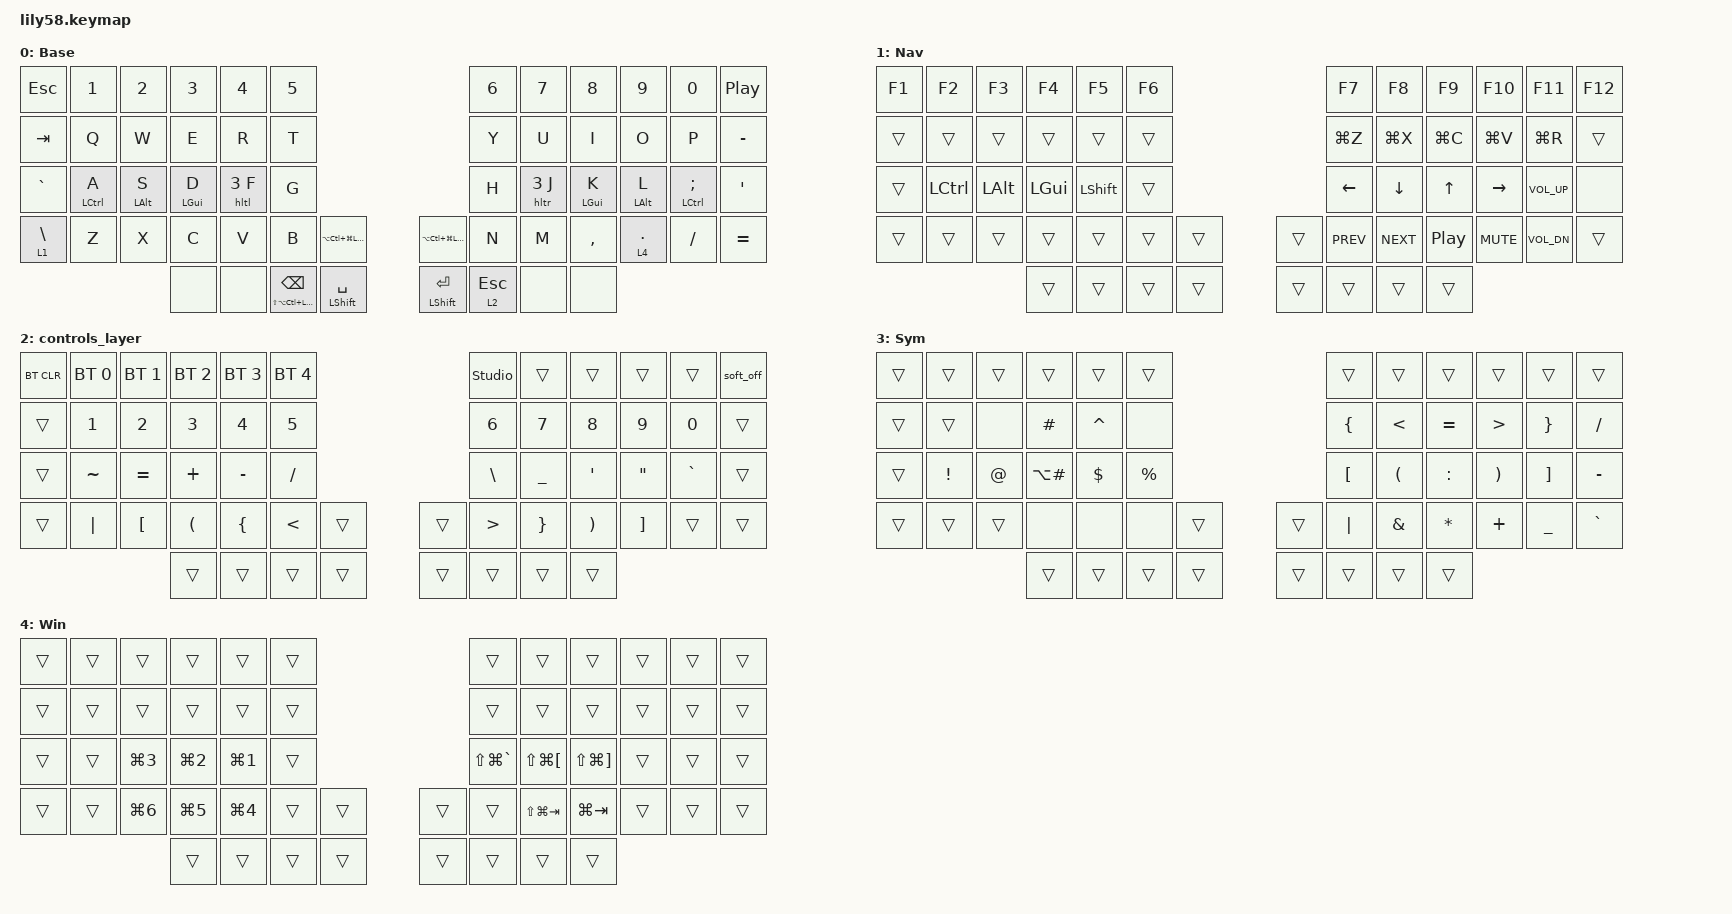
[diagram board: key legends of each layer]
/*
 * Copyright (c) 2020 The ZMK Contributors
 *
 * SPDX-License-Identifier: MIT
 */

#include <behaviors.dtsi>
#include <dt-bindings/zmk/bt.h>
#include <dt-bindings/zmk/keys.h>

// Helpful names for common keys
#define LEFT_HYPER  LS(LA(LC(LGUI)))

#define MAC_NEXT_WORD   LA(RIGHT)
#define MAC_WRDN    MAC_NEXT_WORD

#define MAC_PREVIOUS_WORD   LA(LEFT)
#define MAC_WRDP    MAC_PREVIOUS_WORD

#define MAC_START_OF_LINE   LG(LEFT)
#define MAC_STTL    MAC_START_OF_LINE

#define MAC_END_OF_LINE LG(RIGHT)
#define MAC_ENDL    MAC_END_OF_LINE

#define MAC_CUT LG(X)
#define MAC_COPY    LG(C)
#define MAC_PASTE   LG(V)
#define MAC_UNDO    LG(Z)
#define MAC_REDO    LG(R)

#define LT0  5  // left-top row
#define LT1  4
#define LT2  3
#define LT3  2
#define LT4  1
#define LT5  0
#define RT0  6  // right-top row
#define RT1  7
#define RT2  8
#define RT3  9
#define RT4 10
#define RT5 11
#define LN0 17  // left-middle row
#define LN1 16
#define LN2 15
#define LN3 14
#define LN4 13
#define LN5 12
#define RN0 18  // right-middle row
#define RN1 19
#define RN2 20
#define RN3 21
#define RN4 22
#define RN5 23
#define LM0 29  // left-homerow row
#define LM1 28
#define LM2 27
#define LM3 26
#define LM4 25
#define LM5 24
#define RM0 30  // right-homerow row
#define RM1 31
#define RM2 32
#define RM3 33
#define RM4 34
#define RM5 35
#define LB0 41  // left-bottom row
#define LB1 40
#define LB2 39
#define LB3 38
#define LB4 37
#define LB5 36
#define LBC 42  // left encoder key
#define RBC 43  // right encoder key
#define RB0 44  // right-bottom row
#define RB1 45
#define RB2 46
#define RB3 47
#define RB4 48
#define RB5 49
#define LF0 53  // left footer keys
#define LF1 52
#define LF2 51
#define LF3 50
#define RF0 54  // right footer keys
#define RF1 55
#define RF2 56
#define RF3 57

// All keys on the left side of the keyboard excluding thumb keys

#define KEYS_L LT0 LT1 LT2 LT3 LT4 LT5 LN0 LN1 LN2 LN3 LN4 LN5 LM0 LM1 LM2 LM3 LM4 LM5 LBC LB0 LB1 LB2 LB3 LB4 LB5

// All keys on the right side of the keyboard excluding thumb keys

#define KEYS_R RT0 RT1 RT2 RT3 RT4 RT5 RN0 RN1 RN2 RN3 RN4 RN5 RM0 RM1 RM2 RM3 RM4 RM5 RBC RB0 RB1 RB2 RB3 RB4 RB5

// Thumb cluster keys from the left side of the keyboard

#define THUMB_L LF3 LF2 LF1 LF0

// Thumb cluster keys from the right side of the keyboard

#define THUMB_R RF0 RF1 RF2 RF3

// All thumb cluster keys

#define THUMBS THUMB_L THUMB_R

#define DEFINE_HRM(_label, _name, _hold, _tap, _triggers, ...) \
    _label: _name {                                            \
        compatible = "zmk,behavior-hold-tap";                  \
        #binding-cells = <2>;                                  \
        flavor = "balanced";                                   \
        tapping-term-ms = <200>;                               \
        quick-tap-ms = <175>;                                  \
        bindings = <_hold>, <_tap>;                            \
        hold-trigger-key-positions = <_triggers>;              \
        hold-trigger-on-release;                               \
        __VA_ARGS__                                            \
    }

// This helper macro allow one to define a normal key with a special output with
// pressing shift. This is useful when you want to create a key that, its
// shifted value, differs from the standard behavior.
#define DEFINE_SHIFT_KEY(_behavior_name, _normal_key, _shifted_key) \
    _behavior_name: _behavior_name {                                \
      compatible = "zmk,behavior-mod-morph";                        \
      #binding-cells = <0>;                                         \
      bindings = <_normal_key>, <_shifted_key>;                     \
      mods = <(MOD_LSFT|MOD_RSFT)>;                                 \
    }

&mt { tapping-term-ms = <400>; };

/ {
    behaviors {
        DEFINE_HRM(hml, home_row_mod_left, &kp, &kp, KEYS_R THUMBS,

        require-prior-idle-ms = <100>;

        );

        DEFINE_HRM(hmr, home_row_mod_right, &kp, &kp, KEYS_L THUMBS,

        require-prior-idle-ms = <100>;

        );

        DEFINE_HRM(hms, home_row_mod_for_shift, &kp, &kp, KEYS_L KEYS_R THUMBS);

        DEFINE_HRM(hltl, home_row_mod_for_layer_tap_left, &mo, &kp, KEYS_R,

        require-prior-idle-ms = <100>;

        );

        DEFINE_HRM(hltr, home_row_mod_for_layer_tap_right, &mo, &kp,

        KEYS_R,
        require-prior-idle-ms = <100>;

        );

        DEFINE_SHIFT_KEY(kp_bspcdel, &kp BACKSPACE, &kp DELETE);

        DEFINE_HRM(hmhb, home_row_mod_hyper_backspc, &kp, &kp, KEYS_L KEYS_R THUMBS);
        
    };

    keymap {
        compatible = "zmk,keymap";

        base_layer {
            // ------------------------------------------------------------------------------------------------------------
            // |  ESC  |  1  |  2  |  3   |  4   |  5   |                   |  6   |  7    |  8    |  9   |   0   |   `   |
            // |  TAB  |  Q  |  W  |  E   |  R   |  T   |                   |  Y   |  U    |  I    |  O   |   P   |   -   |
            // |  CTRL |  A  |  S  |  D   |  F   |  G   |                   |  H   |  J    |  K    |  L   |   ;   |   '   |
            // | SHIFT |  Z  |  X  |  C   |  V   |  B   |   "["  |  |  "]"  |  N   |  M    |  ,    |  .   |   /   | SHIFT |
            //                     | ALT  | GUI  | LOWER|  SPACE (Hyper) |  | ENTER (MEH) | RAISE| BSPC  | GUI   |

            bindings = <
&kp ESC        &kp N1        &kp N2       &kp N3       &kp N4     &kp N5                                                                                &kp N6        &kp N7     &kp N8       &kp N9        &kp N0           &kp C_PP
&kp TAB        &kp Q         &kp W        &kp E        &kp R      &kp T                                                                                 &kp Y         &kp U      &kp I        &kp O         &kp P            &kp MINUS
&kp GRAVE &hml LCTRL A  &hml LALT S  &hml LGUI D  &hltl 3 F  &kp G                                                                                 &kp H         &hltr 3 J  &hmr LGUI K  &hmr LALT L   &hmr LCTRL SEMI  &kp SQT
&lt 1 BSLH     &kp Z         &kp X        &kp C        &kp V      &kp B                       &kp LA(LC(LG(LEFT_SHIFT)))    &kp LA(LC(LG(LEFT_SHIFT)))  &kp N         &kp M      &kp COMMA    &lt 4 PERIOD  &kp FSLH         &kp EQUAL
                                          &none        &none      &hmhb LEFT_HYPER BACKSPACE &hms LSHFT SPACE              &hms LSHFT RET              &lt 2 ESCAPE  &none      &none
            >;

            label = "Base";
        };

        navigation_layer {
            // ------------------------------------------------------------------------------------------------------------
            // |  F1   |  F2 |  F3 |  F4  |  F5  |  F6  |                   |  F7  |  F8   |  F9   |  F10 |  F11  |  F12  |
            // |       |     |     |      |      |      |                   | COPY | UNDO  |       |      | PASTE |       |
            // |       |     |     |      |      |      |                   | LEFT | DOWN  |  UP   |RIGHT | VOLUP |       |
            // |       |     |     |      |      |      |        |  |       | MPRV | MNXT  | MPLY  | MUTE | VOLDWN|       |
            //                     |      |      |      |        |  |       |      |       |       |

            bindings = <
&kp F1  &kp F2     &kp F3    &kp F4    &kp F5     &kp F6                    &kp F7      &kp F8      &kp F9    &kp F10     &kp F11       &kp F12
&trans  &trans     &trans    &trans    &trans     &trans                    &kp MAC_UNDO   &kp MAC_CUT &kp MAC_COPY    &kp MAC_PASTE      &kp MAC_REDO    &trans
&trans  &kp LCTRL  &kp LALT  &kp LGUI  &kp LSHFT  &trans                    &kp LEFT    &kp DOWN    &kp UP    &kp RIGHT   &kp K_VOL_UP  &none
&trans  &trans     &trans    &trans    &trans     &trans  &trans    &trans  &kp C_PREV  &kp C_NEXT  &kp C_PP  &kp K_MUTE  &kp K_VOL_DN  &trans
                             &trans    &trans     &trans  &trans    &trans  &trans      &trans      &trans
            >;

            label = "Nav";
        };

        controls_layer {
            // ------------------------------------------------------------------------------------------------------------
            // | BT_CLR| BT 1| BT 2| BT 3 | BT 4 | BT 5 |                   |std_u |       |       |      |       | EP TOG |
            // |       |  1  |  2  |  3   |  4   |  5   |                   |  6   |   7   |   8   |  9   |   0   |       |
            // |       |  ~  |  =  |  +   |  -   |  /   |                   |   \  |  _    |   '   |  "   |   `   |       |
            // |       |  |  |  [  |  (   |  {   |  <   |        |  |       |   >  |   }   |   )   |  ]   |       |      |
            //                     |      |      |      |        |  |       |      |       |       |

            bindings = <
&bt BT_CLR  &bt BT_SEL 0  &bt BT_SEL 1  &bt BT_SEL 2  &bt BT_SEL 3  &bt BT_SEL 4                    &studio_unlock  &trans     &trans    &trans    &trans     &soft_off
&trans      &kp N1        &kp N2        &kp N3        &kp N4        &kp N5                          &kp N6          &kp N7     &kp N8    &kp N9    &kp N0     &trans
&trans      &kp TILDE     &kp EQUAL     &kp PLUS      &kp MINUS     &kp SLASH                       &kp BSLH        &kp UNDER  &kp SQT   &kp DQT   &kp GRAVE  &trans
&trans      &kp PIPE      &kp LBKT      &kp LPAR      &kp LBRC      &kp LT        &trans    &trans  &kp GT          &kp RBRC   &kp RPAR  &kp RBKT  &trans     &trans
                                        &trans        &trans        &trans        &trans    &trans  &trans          &trans     &trans
            >;
        };

        symbol_layer {
            bindings = <
&trans  &trans    &trans  &trans           &trans      &trans                         &trans            &trans         &trans        &trans                 &trans             &trans
&trans  &trans    &none   &kp POUND        &kp CARET   &none                          &kp LEFT_BRACE    &kp LESS_THAN  &kp EQUAL     &kp GREATER_THAN        &kp RIGHT_BRACE    &kp SLASH
&trans  &kp EXCL  &kp AT  &kp LA(HASH)  &kp DOLLAR  &kp PERCENT                    &kp LEFT_BRACKET  &kp LPAR       &kp COLON     &kp RIGHT_PARENTHESIS  &kp RIGHT_BRACKET  &kp MINUS
&trans  &trans    &trans  &none            &none       &none        &trans    &trans  &kp PIPE          &kp AMPERSAND  &kp ASTERISK  &kp PLUS               &kp UNDER          &kp GRAVE
                          &trans           &trans      &trans       &trans    &trans  &trans            &trans         &trans
            >;

            label = "Sym";
        };

        window_management_layer {
            bindings = <
&trans  &trans  &trans            &trans            &trans            &trans                    &trans             &trans                    &trans                     &trans  &trans  &trans
&trans  &trans  &trans            &trans            &trans            &trans                    &trans             &trans                    &trans                     &trans  &trans  &trans
&trans  &trans  &kp LG(NUMBER_3)  &kp LG(NUMBER_2)  &kp LG(NUMBER_1)  &trans                    &kp LS(LG(GRAVE))  &kp LS(LG(LEFT_BRACKET))  &kp LS(LG(RIGHT_BRACKET))  &trans  &trans  &trans
&trans  &trans  &kp LG(NUMBER_6)  &kp LG(N5)        &kp LG(NUMBER_4)  &trans  &trans    &trans  &trans             &kp LS(LG(TAB))           &kp LG(TAB)                &trans  &trans  &trans
                                  &trans            &trans            &trans  &trans    &trans  &trans             &trans                    &trans
            >;

            label = "Win";
        };
    };
};
